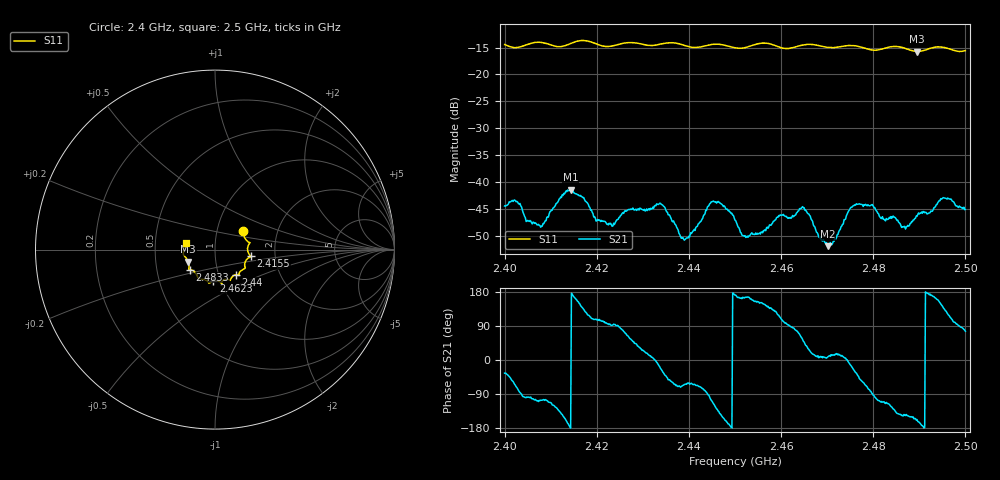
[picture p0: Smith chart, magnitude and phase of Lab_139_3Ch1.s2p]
# Hz S RI R 50
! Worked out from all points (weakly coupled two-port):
!   601 points, 2.4 GHz to 2.5 GHz, reference 50 ohm
!   highest |S21| = -41.42 dB at 2.4143 GHz (marker M1); lowest = -51.9 dB at 2.4702 GHz (marker M2)
!   lowest |S11| = -15.7 dB at 2.4895 GHz (marker M3), VSWR 1.39, Z = 36.7 - j5.08 ohm
!   |S11| at or under -10 dB: start of sweep to end of sweep
!   S12 and S22 are empty: the file has one direction only
!   S11 on the Smith chart (normalised r, x): 2.4 GHz: 1.33, +0.29; 2.4155 GHz: 1.49, -0.11; 2.44 GHz: 1.21, -0.35; 2.4623 GHz: 0.92, -0.34; 2.4833 GHz: 0.74, -0.17; 2.5 GHz: 0.72, +0.06
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2.4e9  0.1567 0.1062  0.00494 -0.00343  0 0  0 0
2.4025e9  0.1641 0.068  0.00219 -0.00622  0 0  0 0
2.408e9  0.1949 0.0376  -0.00109 -0.00375  0 0  0 0
2.414333e9  0.1917 -0.0286  -0.00849 -4.85e-05  0 0  0 0
2.4155e9  0.1989 -0.0366  -0.00733 0.00266  0 0  0 0
2.416667e9  0.2027 -0.0406  -0.0057 0.00465  0 0  0 0
2.423e9  0.1659 -0.0765  -0.000186 0.00416  0 0  0 0
2.433333e9  0.1338 -0.134  0.00607 -0.00128  0 0  0 0
2.44e9  0.1152 -0.1397  0.00153 -0.00275  0 0  0 0
2.445e9  0.0853 -0.1696  -0.00209 -0.00624  0 0  0 0
2.45e9  0.0638 -0.1652  -0.00439 0.000662  0 0  0 0
2.4525e9  0.0421 -0.1739  -0.003 0.000765  0 0  0 0
2.462333e9  -0.00862 -0.1763  0.000228 0.00472  0 0  0 0
2.4645e9  -0.0281 -0.1849  0.00305 0.00493  0 0  0 0
2.466667e9  -0.0334 -0.187  0.00425 0.00135  0 0  0 0
2.470167e9  -0.0499 -0.1713  0.00252 0.000364  0 0  0 0
2.476e9  -0.0937 -0.1595  0.00536 -0.00306  0 0  0 0
2.483333e9  -0.1402 -0.1113  -0.002 -0.0041  0 0  0 0
2.486667e9  -0.1451 -0.0998  -0.00313 -0.00229  0 0  0 0
2.4895e9  -0.1488 -0.0673  -0.00445 -0.00186  0 0  0 0
2.495167e9  -0.1776 -0.0195  -0.0054 0.00475  0 0  0 0
2.5e9  -0.1625 0.0374  0.00136 0.00542  0 0  0 0
